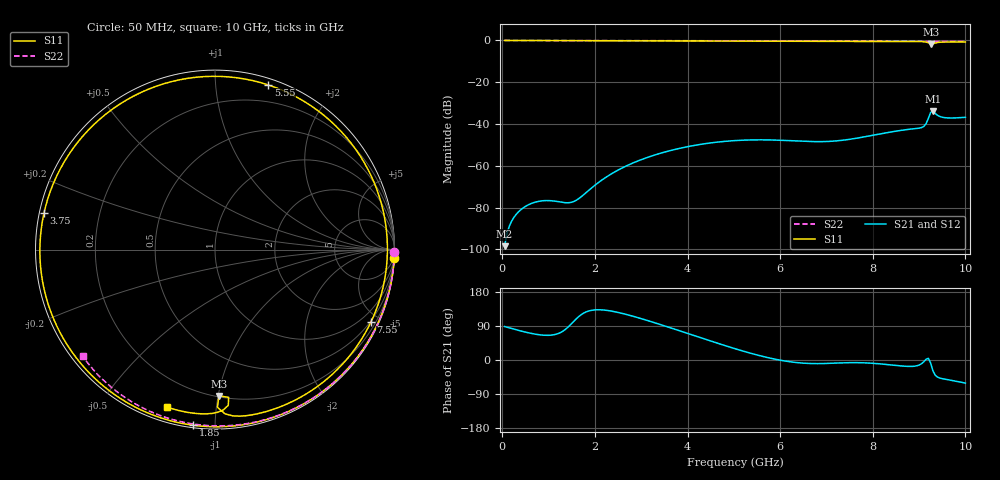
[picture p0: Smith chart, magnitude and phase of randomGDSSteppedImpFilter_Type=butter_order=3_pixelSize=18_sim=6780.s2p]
! freq	dB(S11)	phase(S11)	dB(S12)	phase(S12)
!  dB(S21)	phase(S21)	dB(S22)	phase(S22)
!S-par simulation data
#  GHz  S  DB  R 50
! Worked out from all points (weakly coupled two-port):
!   200 points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, 50 MHz to 10 GHz, reference 50 ohm
!   highest |S21| = -34.00 dB at 9.3 GHz (marker M1); lowest = -98.5 dB at 50 MHz (marker M2)
!   lowest |S11| = -1.8 dB at 9.25 GHz (marker M3), VSWR 9.81, Z = 10.4 - j50.3 ohm
!   |S11| at or under -10 dB: nowhere
!   |S22| runs from -0.5 to 0.0 dB; largest |S21 - S12| = 0
!   S11 on the Smith chart (normalised r, x): 50 MHz: 0, -42; 1.85 GHz: 0.01, -0.88; 3.75 GHz: 0.01, +0.11; 5.55 GHz: 0.05, +1.37; 7.55 GHz: 0.46, -4.48; 10 GHz: 0.07, -0.74
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0.05  -0.00 -2.7  -98.47 88.3  -98.47 88.3  -0.00 -0.8
0.5  -0.04 -26.9  -79.43 73.6  -79.43 73.6  -0.01 -8.1
1  -0.07 -53.4  -76.65 65.2  -76.65 65.2  -0.02 -16.2
1.45  -0.10 -76.8  -77.65 90.3  -77.65 90.3  -0.03 -23.3
1.75  -0.11 -92.0  -73.98 123.2  -73.98 123.2  -0.04 -28.1
1.85  -0.12 -97.1  -72.08 128.7  -72.08 128.7  -0.04 -29.7
2.7  -0.17 -139.4  -59.85 119.5  -59.85 119.5  -0.06 -42.8
3.4  -0.21 -174.3  -54.10 94.1  -54.10 94.1  -0.07 -53.4
3.75  -0.23 167.9  -52.05 80.3  -52.05 80.3  -0.08 -58.6
4.35  -0.26 136.7  -49.51 56.1  -49.51 56.1  -0.10 -67.3
5.05  -0.30 99.1  -47.90 28.9  -47.90 28.9  -0.12 -77.2
5.55  -0.32 72.1  -47.57 11.7  -47.57 11.7  -0.14 -84.1
6.15  -0.33 40.4  -47.92 -3.6  -47.92 -3.6  -0.16 -92.2
6.7  -0.34 13.0  -48.42 -9.4  -48.42 -9.4  -0.19 -99.4
7.55  -0.37 -25.0  -47.15 -7.0  -47.15 -7.0  -0.25 -110.4
8.35  -0.43 -55.9  -43.97 -12.5  -43.97 -12.5  -0.31 -120.5
9.05  -0.55 -81.6  -41.73 -10.0  -41.73 -10.0  -0.37 -129.2
9.15  -0.75 -86.5  -39.91 1.8  -39.91 1.8  -0.38 -130.5
9.25  -1.78 -88.5  -34.43 -8.1  -34.43 -8.1  -0.39 -131.7
9.3  -1.65 -84.7  -34.00 -28.9  -34.00 -28.9  -0.39 -132.4
9.55  -0.76 -92.7  -36.95 -50.4  -36.95 -50.4  -0.42 -135.5
10  -0.75 -107.1  -36.78 -61.0  -36.78 -61.0  -0.48 -141.2
